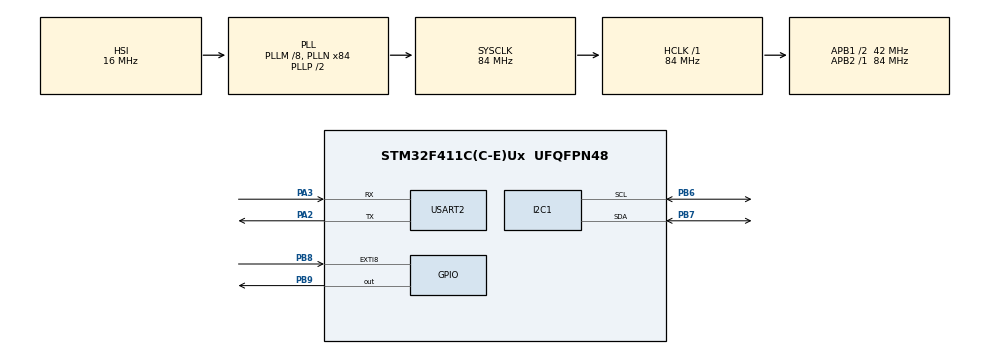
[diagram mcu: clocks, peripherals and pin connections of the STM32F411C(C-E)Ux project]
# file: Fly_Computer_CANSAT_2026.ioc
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Mcu.Family=STM32F4
Mcu.Name=STM32F411C(C-E)Ux
Mcu.Package=UFQFPN48
NVIC.EXTI9_5_IRQn=true\:0\:0\:false\:false\:true\:true\:true\:true
NVIC.PriorityGroup=NVIC_PRIORITYGROUP_4
PA2.Mode=Asynchronous
PA2.Signal=USART2_TX
PA3.Mode=Asynchronous
PA3.Signal=USART2_RX
PB6.Mode=I2C
PB6.Signal=I2C1_SCL
PB7.Mode=I2C
PB7.Signal=I2C1_SDA
PB8.GPIO_ModeDefaultEXTI=GPIO_MODE_IT_RISING_FALLING
PB8.Signal=GPXTI8
PB9.PinState=GPIO_PIN_SET
PB9.Signal=GPIO_Output
ProjectManager.HeapSize=0x200
ProjectManager.StackSize=0x400
ProjectManager.TargetToolchain=STM32CubeIDE
RCC.48MHZClocksFreq_Value=42000000
RCC.AHBFreq_Value=84000000
RCC.APB1CLKDivider=RCC_HCLK_DIV2
RCC.APB1Freq_Value=42000000
RCC.APB1TimFreq_Value=84000000
RCC.APB2Freq_Value=84000000
RCC.APB2TimFreq_Value=84000000
RCC.CortexFreq_Value=84000000
RCC.HCLKFreq_Value=84000000
RCC.HSE_VALUE=25000000
RCC.HSI_VALUE=16000000
RCC.LSE_VALUE=32768
RCC.PLLM=8
RCC.PLLN=84
RCC.SYSCLKFreq_VALUE=84000000
RCC.SYSCLKSource=RCC_SYSCLKSOURCE_PLLCLK
RCC.VCOOutputFreq_Value=168000000
USART2.VirtualMode=VM_ASYNC
board=custom

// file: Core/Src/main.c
/* USER CODE BEGIN Header */
/**
  ******************************************************************************
  * @file           : main.c
  * @brief          : Main program body
  ******************************************************************************
  * @attention
  *
  * Copyright (c) 2026 STMicroelectronics.
  * All rights reserved.
  *
  * This software is licensed under terms that can be found in the LICENSE file
  * in the root directory of this software component.
  * If no LICENSE file comes with this software, it is provided AS-IS.
  *
  ******************************************************************************
  */
/* USER CODE END Header */

/*###################################################################################################################################################################*/
/* Includes ##########################################################################################################################################################*/

#include "main.h"

/* USER CODE BEGIN Includes */
#include <stdio.h>
#include <string.h>
#include "sh2.h"
#include "sh2_hal.h"
#include "sh2_SensorValue.h"
#include "telemetry.h"
/* USER CODE END Includes */
/* ---------------------------------------------------------------------------*/

/*###################################################################################################################################################################*/
/* Private stuff ####################################################################################################################################################*/

/* ---------------------------------------------------------------------------*/

/* ---------------------------------------------------------------------------*/

/* ---------------------------------------------------------------------------*/

/*###################################################################################################################################################################*/
/* Private variables ################################################################################################################################################*/

I2C_HandleTypeDef hi2c1;
UART_HandleTypeDef huart2;

/* USER CODE BEGIN PV */
/* Variables Volatiles ---------------------------------------------------------*/
//VARIABLES VOLATILES DEBUG LECTURAS BME280
volatile int32_t  g_t_centi = 0;   // temperatura en centi-°C (ej 2534 = 25.34°C)
volatile uint32_t g_p_pa    = 0;   // presión en Pa
volatile uint32_t g_h_centi = 0;   // humedad en centi-%RH (ej 4550 = 45.50%RH)
volatile uint8_t  g_bme_ok  = 0;   // 1 si lectura OK

//DEBUG BNO085 RESPUESTA I2C
volatile uint8_t g_bno_addr = 0;      // 0x4A o 0x4B si se detecta, 0 si novolatile uint8_t g_bno_ok   = 0;      // 1 si responde por I2C, 0 si no

//DEBUG LECTURA DE VALORES BNO
volatile uint8_t  g_bno_stream_ok = 0;
volatile float    g_ax=0, g_ay=0, g_az=0;
volatile float    g_gx=0, g_gy=0, g_gz=0;

//DEBUG INTERRUPCIONES BNO
static volatile uint8_t bno_int_flag = 0;
static volatile uint32_t bno_int_time_us = 0;
volatile uint32_t g_bno_last_check_ms = 0;

//DEBUG LIBRERIA SH2
volatile int g_sh2_open_rc = 999;
volatile uint32_t g_bno_reads = 0;
volatile uint32_t g_bno_read_err = 0;
volatile uint8_t g_bno_int_seen = 0;

//DEBUG CONTADORES DE LECTURA BNO
volatile uint32_t g_bno_writes = 0;
volatile uint32_t g_bno_write_err = 0;

volatile uint16_t g_bno_last_len = 0;
volatile uint8_t  g_bno_hdr0 = 0, g_bno_hdr1 = 0, g_bno_chan = 0, g_bno_seq = 0;
/* ---------------------------------------------------------------------------*/

/* DEFINICION DE LOS PINES ---------------------------------------------------*/
#define BNO_I2C_ADDR_7B  0x4B
#define BNO_RST_GPIO_Port GPIOB
#define BNO_RST_Pin       GPIO_PIN_9
/* ---------------------------------------------------------------------------*/
/* USER CODE END PV */

void SystemClock_Config(void);
static void MX_GPIO_Init(void);
static void MX_I2C1_Init(void);
static void MX_USART2_UART_Init(void);

/* ---------------------------------------------------------------------------*/

/*###################################################################################################################################################################*/
/* Private user code ################################################################################################################################################*/

/* USER CODE BEGIN 0 */
#define BNO085_ADDR_1 0x4A
#define BNO085_ADDR_2 0x4B

extern sh2_Hal_t g_sh2_hal;
extern UART_HandleTypeDef huart2;

static void sh2_event_cb(void *cookie, sh2_AsyncEvent_t *pEvent)
{
  (void)cookie; (void)pEvent;
  // Aquí podrías setear flags si quieres ver resets/eventos
}

static void sh2_sensor_cb(void *cookie, sh2_SensorEvent_t *pEvent)
{
  (void)cookie;
  sh2_SensorValue_t v;
  if (sh2_decodeSensorEvent(&v, pEvent) != 0) return;

  g_bno_stream_ok = 1;

  if (v.sensorId == SH2_ACCELEROMETER) {
    g_ax = v.un.accelerometer.x;
    g_ay = v.un.accelerometer.y;
    g_az = v.un.accelerometer.z;
  } else if (v.sensorId == SH2_GYROSCOPE_CALIBRATED) {
    g_gx = v.un.gyroscope.x; // rad/s
    g_gy = v.un.gyroscope.y;
    g_gz = v.un.gyroscope.z;
  }
}

static void dwt_init(void)
{
  CoreDebug->DEMCR |= CoreDebug_DEMCR_TRCENA_Msk;
  DWT->CYCCNT = 0;
  DWT->CTRL |= DWT_CTRL_CYCCNTENA_Msk;
}

static uint32_t micros32(void)
{
  // SYSCLK = 84MHz -> 84 ciclos por microsegundo
  return (uint32_t)(DWT->CYCCNT / (SystemCoreClock / 1000000U));
}

// --- Funciones HAL que pide SH2 (sh2_hal.h) ---
static int sh2hal_open(sh2_Hal_t *self)
{
  (void)self;
  dwt_init();

  // Reset del BNO085 (activo en bajo)
  HAL_GPIO_WritePin(BNO_RST_GPIO_Port, BNO_RST_Pin, GPIO_PIN_RESET);
  HAL_Delay(10);
  HAL_GPIO_WritePin(BNO_RST_GPIO_Port, BNO_RST_Pin, GPIO_PIN_SET);
  HAL_Delay(50);

  bno_int_flag = 1; // deja que intente leer aunque no haya INT al inicio
  return 0;
}

static void sh2hal_close(sh2_Hal_t *self)
{
  (void)self;
  HAL_GPIO_WritePin(BNO_RST_GPIO_Port, BNO_RST_Pin, GPIO_PIN_RESET);
}

static int sh2hal_read(sh2_Hal_t *self, uint8_t *pBuffer, unsigned len, uint32_t *t_us)
{
  (void)self;

  if (!bno_int_flag) return 0;     // solo leer si hay INT/flag

  // OJO: no borres el flag aún; bórralo hasta que una lectura sea válida.
  g_bno_reads++;

  unsigned maxRead = len;
  if (maxRead > 256) maxRead = 256;   // suficiente para accel/gyro

  if (maxRead < 4) return 0;

  // Lee “de un jalón”
  if (HAL_I2C_Master_Receive(&hi2c1, (BNO_I2C_ADDR_7B << 1), pBuffer, maxRead, 500) != HAL_OK) {
    g_bno_read_err++;
    // deja flag en 1 para reintentar
    return 0;
  }

  // Header SHTP
  g_bno_hdr0 = pBuffer[0];
  g_bno_hdr1 = pBuffer[1];
  g_bno_chan = pBuffer[2];
  g_bno_seq  = pBuffer[3];

  uint16_t total_len = (uint16_t)pBuffer[0] | ((uint16_t)(pBuffer[1] & 0x7F) << 8);
  g_bno_last_len = total_len;

  if (total_len < 4 || total_len > maxRead) {
    g_bno_read_err++;
    // deja flag en 1 para reintentar
    return 0;
  }

  // Ya consumimos un paquete válido → ahora sí baja flag
  bno_int_flag = 0;

  *t_us = bno_int_time_us ? bno_int_time_us : micros32();
  bno_int_time_us = 0;

  return (int)total_len;
}

static int sh2hal_write(sh2_Hal_t *self, uint8_t *pBuffer, unsigned len)
{
  (void)self;
  if (HAL_I2C_Master_Transmit(&hi2c1, (BNO_I2C_ADDR_7B << 1), pBuffer, len, 200) != HAL_OK) {
    return 0;
  }
  return (int)len;
}

static uint32_t sh2hal_getTimeUs(sh2_Hal_t *self)
{
  (void)self;
  return micros32();
}

// Instancia HAL para SH2
sh2_Hal_t g_sh2_hal = {
  .open = sh2hal_open,
  .close = sh2hal_close,
  .read = sh2hal_read,
  .write = sh2hal_write,
  .getTimeUs = sh2hal_getTimeUs
};

// Llama esto desde tu EXTI callback (PB8)
void bno085_notify_int(void)
{
  bno_int_flag = 1;
  bno_int_time_us = micros32();
}

static void bno085_probe(void)
{
  // Devuelve HAL_OK si el dispositivo responde (ACK)
  if (HAL_I2C_IsDeviceReady(&hi2c1, (BNO085_ADDR_1 << 1), 3, 10) == HAL_OK) {
    g_bno_ok = 1;
    g_bno_addr = BNO085_ADDR_1;
    return;
  }
  if (HAL_I2C_IsDeviceReady(&hi2c1, (BNO085_ADDR_2 << 1), 3, 10) == HAL_OK) {
    g_bno_ok = 1;
    g_bno_addr = BNO085_ADDR_2;
    return;
  }

  g_bno_ok = 0;
  g_bno_addr = 0;
}

extern UART_HandleTypeDef huart2;

int _write(int file, char *ptr, int len) {
  (void)file;
  HAL_UART_Transmit(&huart2, (uint8_t*)ptr, len, HAL_MAX_DELAY);
  return len;
}

/*###################################################################################################################################################################*/
/* I2C helpers ######################################################################################################################################################*/

static HAL_StatusTypeDef i2c_wr(uint8_t addr7, uint8_t reg, uint8_t *data, uint16_t len) {
  uint8_t buf[1 + 32];
  if (len > 32) return HAL_ERROR;
  buf[0] = reg;
  if (len) memcpy(&buf[1], data, len);
  return HAL_I2C_Master_Transmit(&hi2c1, (addr7 << 1), buf, 1 + len, 100);
}

static HAL_StatusTypeDef i2c_rd(uint8_t addr7, uint8_t reg, uint8_t *data, uint16_t len) {
  if (HAL_I2C_Master_Transmit(&hi2c1, (addr7 << 1), &reg, 1, 100) != HAL_OK) return HAL_ERROR;
  return HAL_I2C_Master_Receive(&hi2c1, (addr7 << 1), data, len, 100);
}

/*###################################################################################################################################################################*/
/* I2C scanner ######################################################################################################################################################*/

static void i2c_scan(void) {
  printf("\r\nI2C scan...\r\n");
  for (uint8_t a = 1; a < 127; a++) {
    if (HAL_I2C_IsDeviceReady(&hi2c1, (a << 1), 2, 10) == HAL_OK) {
      printf("  Found: 0x%02X\r\n", a);
    }
  }
}

/*###################################################################################################################################################################*/
/* BME20 drivers ####################################################################################################################################################*/

#define BME280_ADDR  0x76

// BME280 registers
#define REG_ID       0xD0
#define REG_RESET    0xE0
#define REG_CTRL_HUM 0xF2
#define REG_STATUS   0xF3
#define REG_CTRL_MEAS 0xF4
#define REG_CONFIG   0xF5
#define REG_PRESS_MSB 0xF7

typedef struct {
  // calibration data
  uint16_t dig_T1; int16_t dig_T2, dig_T3;
  uint16_t dig_P1; int16_t dig_P2, dig_P3, dig_P4, dig_P5, dig_P6, dig_P7, dig_P8, dig_P9;
  uint8_t dig_H1; int16_t dig_H2; uint8_t dig_H3; int16_t dig_H4, dig_H5; int8_t dig_H6;
  int32_t t_fine;
} bme280_cal_t;

static bme280_cal_t bme;

static int bme280_read_calib(void) {
  uint8_t buf[26];

  // temp + pressure calib: 0x88..0xA1 (26 bytes)
  if (i2c_rd(BME280_ADDR, 0x88, buf, 26) != HAL_OK) return 0;
  bme.dig_T1 = (uint16_t)(buf[1]<<8 | buf[0]);
  bme.dig_T2 = (int16_t)(buf[3]<<8 | buf[2]);
  bme.dig_T3 = (int16_t)(buf[5]<<8 | buf[4]);

  bme.dig_P1 = (uint16_t)(buf[7]<<8 | buf[6]);
  bme.dig_P2 = (int16_t)(buf[9]<<8 | buf[8]);
  bme.dig_P3 = (int16_t)(buf[11]<<8 | buf[10]);
  bme.dig_P4 = (int16_t)(buf[13]<<8 | buf[12]);
  bme.dig_P5 = (int16_t)(buf[15]<<8 | buf[14]);
  bme.dig_P6 = (int16_t)(buf[17]<<8 | buf[16]);
  bme.dig_P7 = (int16_t)(buf[19]<<8 | buf[18]);
  bme.dig_P8 = (int16_t)(buf[21]<<8 | buf[20]);
  bme.dig_P9 = (int16_t)(buf[23]<<8 | buf[22]);
  bme.dig_H1 = buf[25];

  // humidity calib: 0xE1..0xE7 (7 bytes)
  uint8_t h[7];
  if (i2c_rd(BME280_ADDR, 0xE1, h, 7) != HAL_OK) return 0;
  bme.dig_H2 = (int16_t)(h[1]<<8 | h[0]);
  bme.dig_H3 = h[2];
  bme.dig_H4 = (int16_t)((h[3] << 4) | (h[4] & 0x0F));
  bme.dig_H5 = (int16_t)((h[5] << 4) | (h[4] >> 4));
  bme.dig_H6 = (int8_t)h[6];

  return 1;
}

static int bme280_init(void) {
  uint8_t id = 0;
  if (i2c_rd(BME280_ADDR, REG_ID, &id, 1) != HAL_OK) return 0;
  if (id != 0x60) { // BME280 chip id
    printf("BME280 ID mismatch: 0x%02X\r\n", id);
    return 0;
  }

  if (!bme280_read_calib()) return 0;

  // Config:
  // ctrl_hum: oversampling x1
  uint8_t v = 0x01;
  if (i2c_wr(BME280_ADDR, REG_CTRL_HUM, &v, 1) != HAL_OK) return 0;

  // ctrl_meas: temp os x1, press os x1, mode normal (3)
  v = (1<<5) | (1<<2) | 3;
  if (i2c_wr(BME280_ADDR, REG_CTRL_MEAS, &v, 1) != HAL_OK) return 0;

  // config: standby 0.5ms (0), filter off (0)
  v = 0x00;
  if (i2c_wr(BME280_ADDR, REG_CONFIG, &v, 1) != HAL_OK) return 0;

  return 1;
}

// compensation (fixed-point) -> returns:
// temp in 0.01°C, pressure in Pa, humidity in 0.01%RH
static int32_t bme280_comp_T(int32_t adc_T) {
  int32_t var1, var2;
  var1 = ((((adc_T>>3) - ((int32_t)bme.dig_T1<<1))) * ((int32_t)bme.dig_T2)) >> 11;
  var2 = (((((adc_T>>4) - ((int32_t)bme.dig_T1)) * ((adc_T>>4) - ((int32_t)bme.dig_T1))) >> 12) *
          ((int32_t)bme.dig_T3)) >> 14;
  bme.t_fine = var1 + var2;
  return (bme.t_fine * 5 + 128) >> 8;
}

static uint32_t bme280_comp_P(int32_t adc_P) {
  int64_t var1, var2, p;
  var1 = ((int64_t)bme.t_fine) - 128000;
  var2 = var1 * var1 * (int64_t)bme.dig_P6;
  var2 = var2 + ((var1*(int64_t)bme.dig_P5)<<17);
  var2 = var2 + (((int64_t)bme.dig_P4)<<35);
  var1 = ((var1 * var1 * (int64_t)bme.dig_P3)>>8) + ((var1 * (int64_t)bme.dig_P2)<<12);
  var1 = (((((int64_t)1)<<47) + var1)) * ((int64_t)bme.dig_P1) >> 33;

  if (var1 == 0) return 0; // avoid exception

  p = 1048576 - adc_P;
  p = (((p<<31) - var2) * 3125) / var1;
  var1 = (((int64_t)bme.dig_P9) * (p>>13) * (p>>13)) >> 25;
  var2 = (((int64_t)bme.dig_P8) * p) >> 19;
  p = ((p + var1 + var2) >> 8) + (((int64_t)bme.dig_P7)<<4);
  return (uint32_t)(p >> 8); // Pa
}

static uint32_t bme280_comp_H(int32_t adc_H) {
  int32_t v_x1;
  v_x1 = (bme.t_fine - ((int32_t)76800));
  v_x1 = (((((adc_H << 14) - (((int32_t)bme.dig_H4) << 20) - (((int32_t)bme.dig_H5) * v_x1)) + ((int32_t)16384)) >> 15) *
          (((((((v_x1 * ((int32_t)bme.dig_H6)) >> 10) * (((v_x1 * ((int32_t)bme.dig_H3)) >> 11) + ((int32_t)32768))) >> 10) + ((int32_t)2097152)) *
             ((int32_t)bme.dig_H2) + 8192) >> 14));
  v_x1 = (v_x1 - (((((v_x1 >> 15) * (v_x1 >> 15)) >> 7) * ((int32_t)bme.dig_H1)) >> 4));
  v_x1 = (v_x1 < 0 ? 0 : v_x1);
  v_x1 = (v_x1 > 419430400 ? 419430400 : v_x1);
  return (uint32_t)(v_x1 >> 12); // 0.001%RH
}

static int bme280_read(int32_t *t_centi, uint32_t *p_pa, uint32_t *h_centi) {
  uint8_t d[8];
  if (i2c_rd(BME280_ADDR, REG_PRESS_MSB, d, 8) != HAL_OK) return 0;

  int32_t adc_P = (int32_t)((d[0]<<12) | (d[1]<<4) | (d[2]>>4));
  int32_t adc_T = (int32_t)((d[3]<<12) | (d[4]<<4) | (d[5]>>4));
  int32_t adc_H = (int32_t)((d[6]<<8) | d[7]);

  *t_centi = bme280_comp_T(adc_T);        // 0.01°C
  *p_pa    = bme280_comp_P(adc_P);        // Pa
  uint32_t h_milli = bme280_comp_H(adc_H); // 0.001%RH
  *h_centi = (h_milli + 5) / 10;          // 0.01%RH

  return 1;
}

/* USER CODE END 0 */
/* ---------------------------------------------------------------------------*/

/*###################################################################################################################################################################*/
/*###################################################################################################################################################################*/

void debug_print(char *msg)
{
    HAL_UART_Transmit(&huart2, (uint8_t*)msg, strlen(msg), HAL_MAX_DELAY);
}

int main(void)
{

  /* MCU Configuration--------------------------------------------------------*/
  /* Reset of all peripherals, Initializes the Flash interface and the Systick. */
  HAL_Init();

  /* Configure the system clock */
  SystemClock_Config();

  /* Initialize all configured peripherals */
  MX_GPIO_Init();
  MX_I2C1_Init();
  MX_USART2_UART_Init();
  /* ------------------------------------------------------------------------*/

  /* USER CODE BEGIN 2 */
  // 1) Abrir SH2
  g_sh2_open_rc = sh2_open(&g_sh2_hal, sh2_event_cb, NULL);

  // 2) Registrar callback de sensores
  sh2_setSensorCallback(sh2_sensor_cb, NULL);

  // 3) Configurar reportes (ej. 50 Hz = 20000 us)
  sh2_SensorConfig_t cfg = {0};
  cfg.reportInterval_us = 20000;

  sh2_setSensorConfig(SH2_ACCELEROMETER, &cfg);
  sh2_setSensorConfig(SH2_GYROSCOPE_CALIBRATED, &cfg);

  HAL_Delay(200);
  printf("\r\n--- CanSat Sensor Proto ---\r\n");

  i2c_scan(); // aquí verás 0x76 y el BNO085 (0x4A/0x4B) si está

  printf("Init BME280...\r\n");
  if (!bme280_init()) {
    printf("BME280 init FAILED\r\n");
  } else {
    printf("BME280 OK\r\n");
  }

  printf("Tip: BNO085 no tiene 'WHOAMI' simple; si aparece en scan (0x4A/0x4B), al menos responde ACK.\r\n");
  /* USER CODE END 2 */

  /*#################################################################################################################################################################*/
  /* Infinite loop ##################################################################################################################################################*/
  /* USER CODE BEGIN WHILE */
	  uint32_t t_bme = HAL_GetTick();
	  while (1)
	  {
		debug_print("STM32 ALIVE\n");

		TelemetryPacket pkt;

		telemetry_build(&pkt, altitude, pressure, temperature);

	    sh2_service();   // debe llamarse muy seguido

	    if (HAL_GetTick() - t_bme >= 500)
	    {
	      t_bme += 500;
	      g_bme_ok = bme280_read((int32_t*)&g_t_centi, (uint32_t*)&g_p_pa, (uint32_t*)&g_h_centi);

	      debug_print("SEQ:%d ALT:%d PRES:%d\n",
	                  pkt.seq,
	                  pkt.altitude,
	                  pkt.pressure);

	    }
	  /* USER CODE END WHILE */
	  }
  }

/*###################################################################################################################################################################*/
/*###################################################################################################################################################################*/
void SystemClock_Config(void)
{
  RCC_OscInitTypeDef RCC_OscInitStruct = {0};
  RCC_ClkInitTypeDef RCC_ClkInitStruct = {0};

  /** Configure the main internal regulator output voltage
  */
  __HAL_RCC_PWR_CLK_ENABLE();
  __HAL_PWR_VOLTAGESCALING_CONFIG(PWR_REGULATOR_VOLTAGE_SCALE1);

  /** Initializes the RCC Oscillators according to the specified parameters
  * in the RCC_OscInitTypeDef structure.
  */
  RCC_OscInitStruct.OscillatorType = RCC_OSCILLATORTYPE_HSI;
  RCC_OscInitStruct.HSIState = RCC_HSI_ON;
  RCC_OscInitStruct.HSICalibrationValue = RCC_HSICALIBRATION_DEFAULT;
  RCC_OscInitStruct.PLL.PLLState = RCC_PLL_ON;
  RCC_OscInitStruct.PLL.PLLSource = RCC_PLLSOURCE_HSI;
  RCC_OscInitStruct.PLL.PLLM = 8;
  RCC_OscInitStruct.PLL.PLLN = 84;
  RCC_OscInitStruct.PLL.PLLP = RCC_PLLP_DIV2;
  RCC_OscInitStruct.PLL.PLLQ = 4;
  if (HAL_RCC_OscConfig(&RCC_OscInitStruct) != HAL_OK)
  {
    Error_Handler();
  }

  /** Initializes the CPU, AHB and APB buses clocks
  */
  RCC_ClkInitStruct.ClockType = RCC_CLOCKTYPE_HCLK|RCC_CLOCKTYPE_SYSCLK
                              |RCC_CLOCKTYPE_PCLK1|RCC_CLOCKTYPE_PCLK2;
  RCC_ClkInitStruct.SYSCLKSource = RCC_SYSCLKSOURCE_PLLCLK;
  RCC_ClkInitStruct.AHBCLKDivider = RCC_SYSCLK_DIV1;
  RCC_ClkInitStruct.APB1CLKDivider = RCC_HCLK_DIV2;
  RCC_ClkInitStruct.APB2CLKDivider = RCC_HCLK_DIV1;

  if (HAL_RCC_ClockConfig(&RCC_ClkInitStruct, FLASH_LATENCY_2) != HAL_OK)
  {
    Error_Handler();
  }
}

/*###################################################################################################################################################################*/
/*###################################################################################################################################################################*/
static void MX_I2C1_Init(void)
{

  hi2c1.Instance = I2C1;
  hi2c1.Init.ClockSpeed = 100000;
  hi2c1.Init.DutyCycle = I2C_DUTYCYCLE_2;
  hi2c1.Init.OwnAddress1 = 0;
  hi2c1.Init.AddressingMode = I2C_ADDRESSINGMODE_7BIT;
  hi2c1.Init.DualAddressMode = I2C_DUALADDRESS_DISABLE;
  hi2c1.Init.OwnAddress2 = 0;
  hi2c1.Init.GeneralCallMode = I2C_GENERALCALL_DISABLE;
  hi2c1.Init.NoStretchMode = I2C_NOSTRETCH_DISABLE;
  if (HAL_I2C_Init(&hi2c1) != HAL_OK)
  {
    Error_Handler();
  }

}

/*###################################################################################################################################################################*/
/*###################################################################################################################################################################*/
static void MX_USART2_UART_Init(void)
{

  huart2.Instance = USART2;
  huart2.Init.BaudRate = 115200;
  huart2.Init.WordLength = UART_WORDLENGTH_8B;
  huart2.Init.StopBits = UART_STOPBITS_1;
  huart2.Init.Parity = UART_PARITY_NONE;
  huart2.Init.Mode = UART_MODE_TX_RX;
  huart2.Init.HwFlowCtl = UART_HWCONTROL_NONE;
  huart2.Init.OverSampling = UART_OVERSAMPLING_16;
  if (HAL_UART_Init(&huart2) != HAL_OK)
  {
    Error_Handler();
  }
}

/*###################################################################################################################################################################*/
/*###################################################################################################################################################################*/
static void MX_GPIO_Init(void)
{
  GPIO_InitTypeDef GPIO_InitStruct = {0};

  /* GPIO Ports Clock Enable */
  __HAL_RCC_GPIOA_CLK_ENABLE();
  __HAL_RCC_GPIOB_CLK_ENABLE();

  /*Configure GPIO pin Output Level */
  HAL_GPIO_WritePin(GPIOB, GPIO_PIN_9, GPIO_PIN_SET);

  /*Configure GPIO pin : PB8 */
  GPIO_InitStruct.Pin = GPIO_PIN_8;
  GPIO_InitStruct.Mode = GPIO_MODE_IT_RISING_FALLING;
  GPIO_InitStruct.Pull = GPIO_NOPULL;
  HAL_GPIO_Init(GPIOB, &GPIO_InitStruct);

  /*Configure GPIO pin : PB9 */
  GPIO_InitStruct.Pin = GPIO_PIN_9;
  GPIO_InitStruct.Mode = GPIO_MODE_OUTPUT_PP;
  GPIO_InitStruct.Pull = GPIO_NOPULL;
  GPIO_InitStruct.Speed = GPIO_SPEED_FREQ_LOW;
  HAL_GPIO_Init(GPIOB, &GPIO_InitStruct);

  /* EXTI interrupt init*/
  HAL_NVIC_SetPriority(EXTI9_5_IRQn, 0, 0);
  HAL_NVIC_EnableIRQ(EXTI9_5_IRQn);

}

/* USER CODE BEGIN 4 */
void HAL_GPIO_EXTI_Callback(uint16_t GPIO_Pin)
{
  if (GPIO_Pin == GPIO_PIN_8) {
    g_bno_int_seen = 1;
    bno085_notify_int();
  }
}
/* USER CODE END 4 */

/*###################################################################################################################################################################*/
/*###################################################################################################################################################################*/
void Error_Handler(void)
{
  __disable_irq();
  while (1)
  {
  }
}

/*###################################################################################################################################################################*/
/*###################################################################################################################################################################*/
